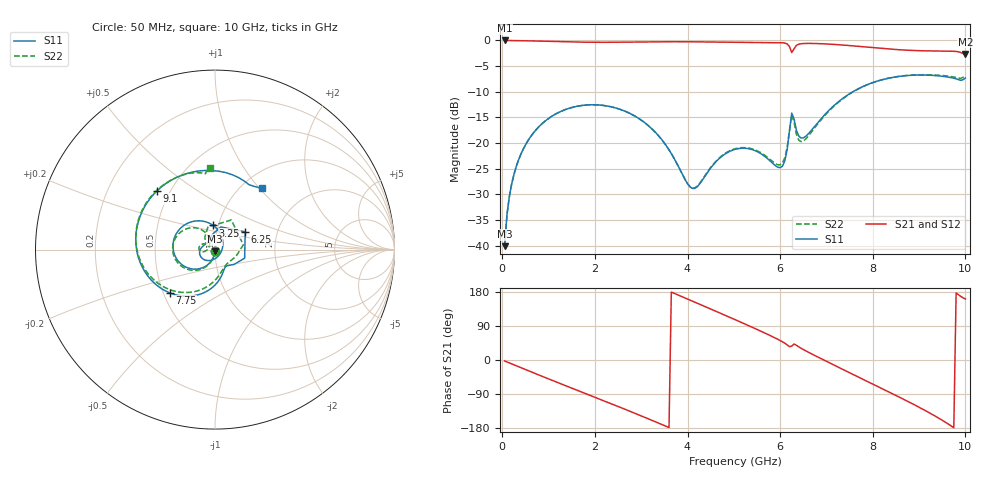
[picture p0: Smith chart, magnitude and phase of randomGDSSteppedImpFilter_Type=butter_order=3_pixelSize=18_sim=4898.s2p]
! freq	dB(S11)	phase(S11)	dB(S12)	phase(S12)
!  dB(S21)	phase(S21)	dB(S22)	phase(S22)
!S-par simulation data
#  GHz  S  DB  R 50
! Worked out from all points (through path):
!   200 points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, 50 MHz to 10 GHz, reference 50 ohm
!   highest |S21| = -0.01 dB at 50 MHz (marker M1); lowest = -2.6 dB at 10 GHz (marker M2)
!   group delay of S21, straight-line fit = 152 ps
!   lowest |S11| = -40.1 dB at 50 MHz (marker M3), VSWR 1.02, Z = 49.9 - j0.987 ohm
!   |S11| at or under -10 dB: start of sweep to 7.571 GHz
!   |S22| runs from -40.0 to -6.7 dB; largest |S21 - S12| = 0
!   S11 on the Smith chart (normalised r, x): 50 MHz: 1.00, -0.02; 3.25 GHz: 0.95, +0.26; 6.25 GHz: 1.37, +0.28; 7.75 GHz: 0.54, -0.30; 9.1 GHz: 0.42, +0.35; 10 GHz: 1.24, +1.03
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0.05  -40.09 -93.6  -0.01 -2.6  -0.01 -2.6  -39.98 -92.7
0.2  -28.08 -100.8  -0.02 -10.1  -0.02 -10.1  -28.07 -100.1
0.5  -20.36 -116.5  -0.07 -25.2  -0.07 -25.2  -20.37 -114.6
1.15  -14.35 -150.1  -0.23 -57.3  -0.23 -57.3  -14.35 -145.7
1.75  -12.64 179.2  -0.34 -86.3  -0.34 -86.3  -12.64 -173.2
2.45  -13.16 142.4  -0.36 -120.1  -0.36 -120.1  -13.17 155.9
3.25  -17.39 94.3  -0.28 -160.2  -0.28 -160.2  -17.41 124.4
3.4  -18.85 83.3  -0.27 -167.8  -0.27 -167.8  -18.87 120.2
4.1  -28.84 -20.7  -0.27 155.7  -0.27 155.7  -28.77 152.5
5.05  -21.17 -148.6  -0.37 105.3  -0.37 105.3  -21.06 179.9
5.55  -21.89 177.4  -0.40 77.9  -0.40 77.9  -21.72 160.5
6  -24.80 135.2  -0.44 51.4  -0.44 51.4  -24.24 145.6
6.1  -23.48 115.0  -0.52 44.3  -0.52 44.3  -22.90 138.6
6.25  -14.17 30.5  -2.36 36.7  -2.36 36.7  -14.49 61.1
6.4  -18.62 -48.4  -0.75 34.7  -0.75 34.7  -19.39 -34.7
6.7  -17.24 -71.7  -0.59 14.8  -0.59 14.8  -17.57 -75.6
7.2  -12.39 -102.1  -0.80 -15.7  -0.80 -15.7  -12.50 -109.5
7.75  -9.15 -136.3  -1.21 -48.7  -1.21 -48.7  -9.17 -142.2
8.35  -7.35 -174.0  -1.68 -84.5  -1.68 -84.5  -7.34 -176.7
9.1  -6.74 134.7  -2.03 -131.2  -2.03 -131.2  -6.68 140.4
9.65  -7.18 87.4  -2.09 -170.5  -2.09 -170.5  -6.98 108.5
10  -7.32 52.4  -2.62 161.1  -2.62 161.1  -6.79 93.2
